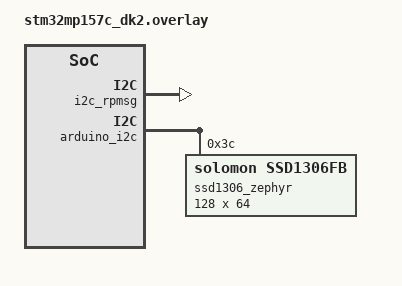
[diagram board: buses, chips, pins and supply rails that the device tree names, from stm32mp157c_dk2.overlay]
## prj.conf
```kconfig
CONFIG_KERNEL_BIN_NAME="zephyr_openamp_i2c"
CONFIG_PRINTK=n
CONFIG_IPM=y
CONFIG_PLATFORM_SPECIFIC_INIT=n
CONFIG_MAIN_STACK_SIZE=4096
CONFIG_HEAP_MEM_POOL_SIZE=16384
CONFIG_OPENAMP=y
CONFIG_OPENAMP_MASTER=n
CONFIG_OPENAMP_RSC_TABLE_NUM_RPMSG_BUFF=8
CONFIG_OPENAMP_RSC_TABLE=y
CONFIG_I2C=y
CONFIG_I2C_STM32_INTERRUPT=y
CONFIG_I2C_RPMSG=y
CONFIG_I2C_TARGET=y

# add display
CONFIG_DISPLAY=y
CONFIG_CFB_LOG_LEVEL_DBG=y
CONFIG_CHARACTER_FRAMEBUFFER=y
CONFIG_SSD1306=y

#sensor
CONFIG_SENSOR=y
CONFIG_HTS221=y
CONFIG_LPS22HB=y
CONFIG_HTS221_TRIGGER_NONE=y
CONFIG_LIS2MDL_TRIGGER_NONE=y
```

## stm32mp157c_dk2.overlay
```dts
/*
 * Copyright (c) 2019, STMICROLECTRONICS
 *
 * SPDX-License-Identifier: Apache-2.0
 */

/ {
	chosen {
		/*
		 * shared memory reserved for the inter-processor communication
		 */
		zephyr,ipc_shm = &mcusram3;
		zephyr,ipc = &mailbox;
	};

	mcusram3: memory1@10040000 {
		compatible = "mmio-sram";
		reg = <0x10040000 DT_SIZE_K(64)>;
	};
};

&mcusram {
	reg = <0x10000000 DT_SIZE_K(256)>;
};

&i2c_rpmsg {
	status = "okay";
};

&arduino_i2c {
	status = "okay";
	ssd1306_zephyr:ssd1306@3c {
		compatible = "solomon,ssd1306fb";
		reg = <0x3c>;
		width = <128>;
		height = <64>;
		segment-offset = <0>;
		page-offset = <0>;
		display-offset = <0>;
		multiplex-ratio = <63>;
		segment-remap;
		com-invdir;
		prechargep = <0x22>;
	};
};
```

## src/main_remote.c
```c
/*
 * Copyright (c) 2019, STMICROLECTRONICS
 *
 * SPDX-License-Identifier: Apache-2.0
 */

#include <stdlib.h>
#include <stdio.h>
#include <string.h>

#include <zephyr/device.h>
#include <zephyr/drivers/sensor.h>
#include <zephyr/drivers/i2c.h>
#include <zephyr/drivers/ipm.h>
#include <zephyr/kernel.h>

#include <openamp/open_amp.h>
#include <metal/device.h>
#include <resource_table.h>
#include <mmio_table.h>

/* Display / Framebuffer */
#include <zephyr/display/cfb.h>

#include <zephyr/logging/log.h>
LOG_MODULE_REGISTER(openamp_rsc_table, LOG_LEVEL_DBG);

#define SHM_DEVICE_NAME	"shm"
#define I2C_REMOTE_DISP_ADDR 0x3D

/* constant derivated from linker symbols */
#define SHM_NODE		DT_CHOSEN(zephyr_ipc_shm)
#define SHM_START_ADDR	DT_REG_ADDR(SHM_NODE)
#define SHM_SIZE		DT_REG_SIZE(SHM_NODE)

#define APP_TASK_STACK_SIZE (4096)
K_THREAD_STACK_DEFINE(thread_stack, APP_TASK_STACK_SIZE);
K_THREAD_STACK_DEFINE(thread_stack2, APP_TASK_STACK_SIZE);
static struct k_thread thread_data;
static struct k_thread thread_data2;

static const struct device *const ipm_handle =
	DEVICE_DT_GET(DT_CHOSEN(zephyr_ipc));
struct rpmsg_device *rpdev;

static const struct device *const i2c_dev = DEVICE_DT_GET(DT_NODELABEL(arduino_i2c));

#ifdef CONFIG_SSD1306
static const struct device *const dev_display = DEVICE_DT_GET(DT_NODELABEL(ssd1306_zephyr));
#endif

#ifdef CONFIG_HTS221
static const struct device *const hts221 = DEVICE_DT_GET(DT_NODELABEL(hts221_x_nucleo_iks01a2));
#endif

#ifdef CONFIG_LPS22HB
static const struct device *const lps22hb =
			DEVICE_DT_GET(DT_NODELABEL(lps22hb_press_x_nucleo_iks01a2));
#endif

static uint16_t display_rows;
static uint8_t display_ppt;
static uint8_t display_font_width;
static uint8_t display_font_height;
static bool display_available;
static bool first_write;
static uint8_t reg_addr;

static struct sensor_value temp1, temp2, hum, press;

static bool hts221_available = true;
static bool lps22hb_available = true;

static metal_phys_addr_t shm_physmap = SHM_START_ADDR;

struct metal_device shm_device = {
	.name = SHM_DEVICE_NAME,
	.num_regions = 2,
	.regions = {
		{.virt = NULL}, /* shared memory */
		{.virt = NULL}, /* rsc_table memory */
	},
	.node = { NULL },
	.irq_num = 0,
	.irq_info = NULL
};

static struct metal_io_region *shm_io;
static struct rpmsg_virtio_shm_pool shpool;

static struct metal_io_region *rsc_io;
static struct rpmsg_virtio_device rvdev;

static void *rsc_table;

static K_SEM_DEFINE(data_sem, 0, 1);

#define TEST_DATA_SIZE	20

/**** MMIO ****/

/* This marks a buffer as continuing via the next field. */
#define VIRTQ_DESC_F_NEXT	0
/* This marks a buffer as device write-only (otherwise device read-only). */
#define VIRTQ_DESC_F_WRITE	1

#define BitSet(BIT, VALUE) (VALUE & (1 << BIT))

uint64_t features = 1 | ((uint64_t)1 << 32) | ((uint64_t)1 << 33);
uint64_t driver_features;

K_SEM_DEFINE(my_sem, 0, 1);

struct virtio_i2c_out_hdr {
	uint16_t addr;
	uint16_t padding;
	uint32_t flags;
};

void mmio_interrupt(void)
{
	static struct fw_mmio_table *mmio;
	static uint32_t last_status;

	if (!mmio)
		mmio_table_get(&mmio);

	if (last_status != mmio->status) {
		printf("MMIO status: %d\n", mmio->status);
		last_status = mmio->status;
	}

	if (mmio->status == 0) {
		driver_features = 0;
		mmio->queueReady = 0;
	} else if (mmio->status == 3) {
		mmio->deviceFeatures = (uint32_t)(features >> (mmio->deviceFeaturesSel * 32));
		driver_features |=
			((uint64_t)mmio->driverFeatures << (mmio->driverFeaturesSel * 32));
	} else if (mmio->status == 11) {
		if (driver_features != features) {
			printf("DriverFeatures does not match our features :(\n");
			mmio->status &= ~(uint32_t)8;
			return;
		}

		mmio->queueNumMax = 16;

		if (!device_is_ready(i2c_dev)) {
			printf("Warn: I2C device is not ready\n");
			return;
		}
	} else if (mmio->status == 15) {
		k_sem_give(&my_sem);
	}
}

void mmio_task(void *u1, void *u2, void *u3)
{
	static struct fw_mmio_table *mmio;

	mmio_table_get(&mmio);

init:

	k_sem_take(&my_sem, K_FOREVER);

	volatile struct virtq_desc *descs = (volatile struct virtq_desc *)mmio->queueDesc;
	volatile struct virtq_avail *avails = (volatile struct virtq_avail *)mmio->queueDriver;
	volatile struct virtq_used *useds = (volatile struct virtq_used *)mmio->queueDevice;

	while (true) {
		if (mmio->status != 15)
			goto init;

		uint16_t used = 0;

		while (avails->idx != (uint16_t)(useds->idx + used)) {
			uint16_t currentIDX = (uint16_t)(useds->idx + used) % mmio->queueNum;
			struct virtq_desc *headerDesc = &descs[avails->ring[currentIDX]];

			if (!headerDesc->addr || BitSet(VIRTQ_DESC_F_WRITE, headerDesc->flags)
				|| headerDesc->len != sizeof(struct virtio_i2c_out_hdr)
				|| !BitSet(VIRTQ_DESC_F_NEXT, headerDesc->flags)) {
				printf("Error, first buffer is not a valid i2c_out_hdr\n");
				mmio->status |= 64;
				break;
			}

			struct virtio_i2c_out_hdr *header =
				(struct virtio_i2c_out_hdr *)headerDesc->addr;

			struct virtq_desc *secondDesc = &descs[headerDesc->next];
			struct virtq_desc *lastDesc = BitSet(VIRTQ_DESC_F_NEXT, secondDesc->flags) ?
											&descs[secondDesc->next] : NULL;

			int lenWrited = 0, ret = 0;

			uint8_t *returnCode;

			if (BitSet(1, header->flags)) {	/* read */
				if (!lastDesc
					|| !BitSet(VIRTQ_DESC_F_WRITE, secondDesc->flags)
					|| !BitSet(VIRTQ_DESC_F_WRITE, lastDesc->flags)) {
					printf("Error, read request with invalid buffer\n");
					mmio->status |= 64;
					break;
				}

				returnCode = (uint8_t *)lastDesc->addr;

				ret = i2c_read(i2c_dev, (uint8_t *)secondDesc->addr,
							secondDesc->len, header->addr >> 1);

				*returnCode = ret ? 1 : 0;
				lenWrited = ret ? 1 : secondDesc->len + 1;

			} else {	/* write */
				if (lastDesc) {
					if (BitSet(VIRTQ_DESC_F_WRITE, secondDesc->flags)
						|| !BitSet(VIRTQ_DESC_F_WRITE, lastDesc->flags)) {
						printf("Error, write request with invalid buffer\n");
						mmio->status |= 64;
						break;
					}
					returnCode = (uint8_t *)lastDesc->addr;

					ret = i2c_write(i2c_dev, (uint8_t *)secondDesc->addr,
							secondDesc->len, header->addr >> 1);
				} else {
					if (!BitSet(VIRTQ_DESC_F_WRITE, secondDesc->flags)) {
						printf("Error, zerolength write request with invalid buffer\n");
						mmio->status |= 64;
						break;
					}
					returnCode = (uint8_t *)secondDesc->addr;

					ret = i2c_write(i2c_dev, NULL, 0, header->addr >> 1);
				}

				*returnCode = ret ? 1 : 0;
				lenWrited = 1;
			}

			useds->ring[currentIDX].id = avails->ring[currentIDX];
			useds->ring[currentIDX].len = lenWrited;

			used++;
		}

		if (used) {
			useds->idx = (uint16_t)(useds->idx + used);

			/* Used Buffer Notification */
			mmio->interruptStatus = 1;
			ipm_send(ipm_handle, 0, 4, NULL, 0);
		}

		k_sem_take(&my_sem, K_FOREVER);
	}
}

/**** ENDMMIO ****/

void stop_display(void)
{
	display_blanking_on(dev_display);
}

static void platform_ipm_callback(const struct device *dev,
				  void *context, uint32_t id, volatile void *data)
{
	if (id == 2) {
		/* receive shutdown */
		stop_display();
		return;
	}

	if (id == 5) {
		mmio_interrupt();
		return;
	}

	LOG_ERR("IPM IRQ\n");
	k_sem_give(&data_sem);
}

static void receive_message(unsigned char **msg, unsigned int *len)
{
	uint32_t t0 = k_uptime_get_32();

	while (k_uptime_get_32() - t0 < 250) {

		if (k_sem_take(&data_sem, K_MSEC(1)) == 0)
			rproc_virtio_notified(rvdev.vdev, VRING1_ID);
	}
}

static void new_service_cb(struct rpmsg_device *rdev, const char *name,
			   uint32_t src)
{
	LOG_ERR("%s: unexpected ns service receive for name %s\n",
		__func__, name);
}

int mailbox_notify(void *priv, uint32_t id)
{
	ARG_UNUSED(priv);

	ipm_send(ipm_handle, 0, id, NULL, 0);
	LOG_DBG("%s: msg sent\n", __func__);

	return 0;
}

void init_sensors(void)
{
	/* search in devicetree if sensors are referenced */

#if CONFIG_HTS221
	if (!device_is_ready(hts221)) {
		LOG_ERR("Could not get HTS221 device\n");
		hts221_available = false;
	}
#endif
#if CONFIG_LPS22HB
	if (!device_is_ready(lps22hb)) {
		LOG_ERR("Could not get LPS22HB device\n");
		lps22hb_available = false;
	}
#endif

	/* set LSM6DSL accel/gyro sampling frequency to 104 Hz */
	struct sensor_value odr_attr;

	odr_attr.val1 = 104;
	odr_attr.val2 = 0;

}

int init_display(void)
{
	int ret;

	/* init display */
	if (!device_is_ready(dev_display)) {
		LOG_ERR("Display Device not found\n");
		return -ENODEV;
	} else {
		display_available = true;

		ret = display_set_pixel_format(dev_display, PIXEL_FORMAT_MONO10);
		if (ret) {
			LOG_ERR("Failed to set format PIXEL_FORMAT_MONO10\n");
			return ret;
		}

		ret = cfb_framebuffer_init(dev_display);
		if (ret) {
			LOG_ERR("Framebuffer initialization failed!\n");
			return ret;
		}
		cfb_framebuffer_clear(dev_display, true);

		display_blanking_off(dev_display);

		display_rows = cfb_get_display_parameter(dev_display,
							 CFB_DISPLAY_ROWS);
		display_ppt = cfb_get_display_parameter(dev_display,
							CFB_DISPLAY_PPT);
		for (int idx = 0; idx < 42; idx++) {
			if (cfb_get_font_size(dev_display, idx,
					      &display_font_width,
					      &display_font_height)) {
				break;
			}
			cfb_framebuffer_set_font(dev_display, idx);
			LOG_DBG("idx: %d font width %d, font height %d\n",
				idx, display_font_width, display_font_height);
		}
		/* for idx: 0 font width 10, font height 16*/
		cfb_framebuffer_set_font(dev_display, 0);
		cfb_get_font_size(dev_display, 0, &display_font_width,
				  &display_font_height);

		LOG_DBG("x_res %d, y_res %d, ppt %d, rows %d, cols %d\n",
			cfb_get_display_parameter(dev_display, CFB_DISPLAY_WIDTH),
			cfb_get_display_parameter(dev_display, CFB_DISPLAY_HEIGH),
			display_ppt,
			display_rows,
			cfb_get_display_parameter(dev_display, CFB_DISPLAY_COLS));
	}

	return 0;
}

int init_remote_display(void)
{
	if (!device_is_ready(i2c_dev)) {
		LOG_ERR("failed to bind remote display\n");
		return -ENODEV;
	}

	return 0;
}

int platform_init(void)
{
	void *rsc_tab_addr;
	int rsc_size;
	struct metal_device *device;
	struct metal_init_params metal_params = METAL_INIT_DEFAULTS;
	int status;

	status = metal_init(&metal_params);
	if (status) {
		LOG_ERR("metal_init: failed: %d\n", status);
		return -1;
	}

	status = metal_register_generic_device(&shm_device);
	if (status) {
		LOG_ERR("Couldn't register shared memory: %d\n", status);
		return -1;
	}

	status = metal_device_open("generic", SHM_DEVICE_NAME, &device);
	if (status) {
		LOG_ERR("metal_device_open failed: %d\n", status);
		return -1;
	}

	/* declare shared memory region */
	metal_io_init(&device->regions[0], (void *)SHM_START_ADDR, &shm_physmap,
		      SHM_SIZE, -1, 0, NULL);

	shm_io = metal_device_io_region(device, 0);
	if (!shm_io) {
		LOG_ERR("Failed to get shm_io region\n");
		return -1;
	}

	/* declare resource table region */
	rsc_table_get(&rsc_tab_addr, &rsc_size);
	rsc_table = (struct st_resource_table *)rsc_tab_addr;

	metal_io_init(&device->regions[1], rsc_table,
		      (metal_phys_addr_t *)rsc_table, rsc_size, -1, 0, NULL);

	rsc_io = metal_device_io_region(device, 1);
	if (!rsc_io) {
		LOG_ERR("Failed to get rsc_io region\n");
		return -1;
	}

	/* setup IPM */
	if (!device_is_ready(ipm_handle)) {
		LOG_ERR("IPM device is not ready\n");
		return -1;
	}

	ipm_register_callback(ipm_handle, platform_ipm_callback, NULL);

	status = ipm_set_enabled(ipm_handle, 1);
	if (status) {
		LOG_ERR("ipm_set_enabled failed\n");
		return -1;
	}

	return 0;
}

static void cleanup_system(void)
{
	ipm_set_enabled(ipm_handle, 0);
	rpmsg_deinit_vdev(&rvdev);
	metal_finish();
}

struct  rpmsg_device *
platform_create_rpmsg_vdev(unsigned int vdev_index,
			   unsigned int role,
			   void (*rst_cb)(struct virtio_device *vdev),
			   rpmsg_ns_bind_cb ns_cb)
{
	struct fw_rsc_vdev_vring *vring_rsc;
	struct virtio_device *vdev;
	int ret;

	vdev = rproc_virtio_create_vdev(VIRTIO_DEV_DEVICE, VDEV_ID,
					rsc_table_to_vdev(rsc_table),
					rsc_io, NULL, mailbox_notify, NULL);

	if (!vdev) {
		LOG_ERR("failed to create vdev\r\n");
		return NULL;
	}

	/* wait master rpmsg init completion */
	rproc_virtio_wait_remote_ready(vdev);

	vring_rsc = rsc_table_get_vring0(rsc_table);
	ret = rproc_virtio_init_vring(vdev, 0, vring_rsc->notifyid,
				      (void *)vring_rsc->da, rsc_io,
				      vring_rsc->num, vring_rsc->align);
	if (ret) {
		LOG_ERR("failed to init vring 0\r\n");
		goto failed;
	}

	vring_rsc = rsc_table_get_vring1(rsc_table);
	ret = rproc_virtio_init_vring(vdev, 1, vring_rsc->notifyid,
				      (void *)vring_rsc->da, rsc_io,
				      vring_rsc->num, vring_rsc->align);
	if (ret) {
		LOG_ERR("failed to init vring 1\r\n");
		goto failed;
	}

	rpmsg_virtio_init_shm_pool(&shpool, NULL, SHM_SIZE);
	ret =  rpmsg_init_vdev(&rvdev, vdev, ns_cb, shm_io, &shpool);

	if (ret) {
		LOG_ERR("failed rpmsg_init_vdev\r\n");
		goto failed;
	}

	return rpmsg_virtio_get_rpmsg_device(&rvdev);

failed:
	rproc_virtio_remove_vdev(vdev);

	return NULL;
}

static int rpmsg_target_write_requested(struct i2c_target_config *config)
{

	LOG_DBG("%s\n", __func__);
	first_write = true;

	return 0;
}

static int rpmsg_target_read_requested(struct i2c_target_config *config, uint8_t *val)
{
	LOG_DBG("%s: val=0x%x\n", __func__, *val);
	reg_addr = *val;
	/* Increment will be done in the read_processed callback */

	return 0;
}

static int rpmsg_target_write_received(struct i2c_target_config *config, uint8_t val)
{
	int ret;

	if (first_write) {
		reg_addr = val;
		first_write = false;
	} else {
		LOG_DBG("%s: write reg=0x%x val=0x%x\n", __func__, reg_addr,
			val);
		ret = i2c_reg_write_byte(i2c_dev, I2C_REMOTE_DISP_ADDR,
					 reg_addr, val);
		if (ret < 0)
			LOG_DBG("%s: failed to write reg=0x%x val=0x%x\n",
				__func__, reg_addr, val);
	}

	return 0;
}

static int rpmsg_target_read_processed(struct i2c_target_config *config, uint8_t *val)
{

	LOG_DBG("%s: reg=0x%x val=0x%x\n", __func__, reg_addr, *val);

	i2c_reg_read_byte(i2c_dev, I2C_REMOTE_DISP_ADDR, reg_addr++, val);

	/* Increment will be done in the next read_processed callback
	 * In case of STOP, the byte won't be taken in account
	 */

	return 0;
}

static int rpmsg_target_stop(struct i2c_target_config *config)
{

	LOG_DBG("%s: stop\n", __func__);
	first_write = true;

	return 0;
}

static const struct i2c_target_callbacks i2c_rpmsg_callbacks = {
	.write_requested = rpmsg_target_write_requested,
	.read_requested = rpmsg_target_read_requested,
	.write_received = rpmsg_target_write_received,
	.read_processed = rpmsg_target_read_processed,
	.stop = rpmsg_target_stop,
};

void app_task(void *arg1, void *arg2, void *arg3)
{
	ARG_UNUSED(arg1);
	ARG_UNUSED(arg2);
	ARG_UNUSED(arg3);
	unsigned char *msg;
	const struct device *i2c_rpmsg_dev = DEVICE_DT_GET(DT_NODELABEL(i2c_rpmsg));
	struct i2c_target_config config;
	int len;
	int ret = 0;
	char message[128];
	char display_buf[16];
	uint8_t line = 0;

	LOG_INF("\r\nOpenAMP[remote] I2C demo started\n");
	if (!i2c_rpmsg_dev)
		LOG_ERR(" failed to get rpmsg I2C dev");

	config.address = I2C_REMOTE_DISP_ADDR;
	config.callbacks = &i2c_rpmsg_callbacks;

	/* Attach application target */
	ret = i2c_target_register(i2c_rpmsg_dev, &config);
	if (ret) {
		LOG_ERR("Failed to register I2C SLAVE %#x\n", config.address);
		goto task_end;
	}

	init_remote_display();
	init_sensors();
	init_display();

	if (display_available) {
		line = 0;
		LOG_ERR("--init display screen --\n");

		cfb_framebuffer_clear(dev_display, false);
		cfb_print(dev_display, "Zephyr", 0,
			  line++ * display_font_height);
		cfb_print(dev_display, "   Waiting ", 0,
			  line++ * display_font_height);
		cfb_print(dev_display, "     TTY   ", 0,
			  line++ * display_font_height);
		cfb_print(dev_display, "    data   ", 0,
			  line++ * display_font_height);
		cfb_framebuffer_finalize(dev_display);
	}

	while (1) {
		unsigned int line = 0;

		if (display_available)
			cfb_framebuffer_clear(dev_display, false);

		/* Get sensor samples */
		if (hts221_available && sensor_sample_fetch(hts221) < 0)
			printf("HTS221 Sensor sample update error\n");
		if (lps22hb_available && sensor_sample_fetch(lps22hb) < 0)
			printf("LPS22HB Sensor sample update error\n");

		/* Get sensor data */
		if (hts221_available) {
			sensor_channel_get(hts221, SENSOR_CHAN_AMBIENT_TEMP,
					   &temp1);
			sensor_channel_get(hts221, SENSOR_CHAN_HUMIDITY, &hum);
		}
		if (lps22hb_available) {
			sensor_channel_get(lps22hb, SENSOR_CHAN_PRESS, &press);
			sensor_channel_get(lps22hb, SENSOR_CHAN_AMBIENT_TEMP,
					   &temp2);
		}

		receive_message(&msg, &len);
		/* Display sensor data */

		/* Erase previous */
		if (display_available) {
			cfb_print(dev_display, "Zephyr", 0,
				  line++ * display_font_height);

			if (hts221_available) {
				/* temperature */
				snprintf(display_buf, sizeof(display_buf), "T: %d.%1d*C",
					(int)sensor_value_to_double(&temp1),
					(int)(sensor_value_to_double(&temp1) * 10) % 10);

				cfb_print(dev_display, display_buf, 0,
					  line++ * display_font_height);

				/* humidity */
				snprintf(display_buf, sizeof(display_buf), "H: %d.%1d%%",
					 (int)sensor_value_to_double(&hum),
					 (int)(sensor_value_to_double(&hum) * 10) % 10);

				cfb_print(dev_display, display_buf, 0,
					  line++ * display_font_height);
			} else {
				cfb_print(dev_display, "T: N/A", 0, line++ * display_font_height);
				cfb_print(dev_display, "H: N/A", 0, line++ * display_font_height);
			}

			if (lps22hb_available) {
				/* pressure */
				/* lps22hb temperature */
				len = snprintf(message, sizeof(message),
						"LPS22HB: Temperature: %.1f C\n",
						sensor_value_to_double(&temp2));

				snprintf(display_buf, sizeof(display_buf), "P: %d.%02dkpa",
					(int)(sensor_value_to_double(&press) * 10.0),
					(int)(sensor_value_to_double(&press) * 1000) % 100);

				cfb_print(dev_display, display_buf, 0,
					  line++ * display_font_height);
			} else {
				cfb_print(dev_display, "P: N/A", 0, line++ * display_font_height);
			}

			cfb_framebuffer_finalize(dev_display);
		}

		receive_message(&msg, &len);
	}

task_end:
	cleanup_system();

	LOG_DBG("sensor task ended\n");
}

static int openamp_init(const struct device *dev)
{
	int ret;

	/* Initialize platform */
	ret = platform_init();
	if (ret) {
		LOG_ERR("Failed to initialize platform\n");
		goto error_case;
	}

	rpdev = platform_create_rpmsg_vdev(0, VIRTIO_DEV_DEVICE, NULL,
					   new_service_cb);
	if (!rpdev) {
		LOG_ERR("Failed to create rpmsg virtio device\n");
		goto error_case;
	}

	LOG_DBG("Init OpenAMP rpdev = %p\n", rpdev);
	return 0;

error_case:
	cleanup_system();

	return 1;
}

void main(void)
{

	k_thread_create(&thread_data, thread_stack, APP_TASK_STACK_SIZE,
			(k_thread_entry_t)app_task,
			NULL, NULL, NULL, K_PRIO_COOP(7), 0, K_NO_WAIT);

	k_thread_create(&thread_data2, thread_stack2, APP_TASK_STACK_SIZE,
			(k_thread_entry_t)mmio_task,
			NULL, NULL, NULL, K_PRIO_COOP(7), 0, K_NO_WAIT);
}

SYS_INIT(openamp_init, POST_KERNEL, CONFIG_KERNEL_INIT_PRIORITY_DEVICE);
```
